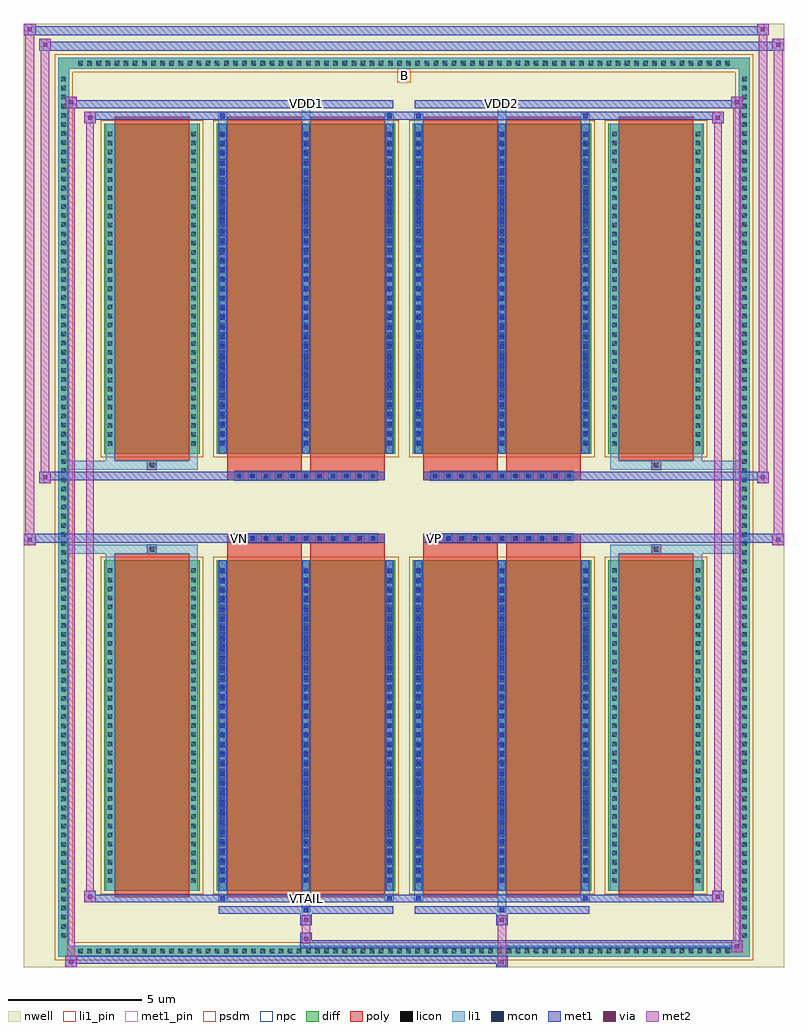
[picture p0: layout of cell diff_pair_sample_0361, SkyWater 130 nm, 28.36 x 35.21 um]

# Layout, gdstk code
import gdstk
lib = gdstk.Library(unit=1e-6, precision=5e-09)
def R(c, l, rs):  # rectangles x0, y0, x1, y1
    for r in rs: c.add(gdstk.rectangle(r[:2], r[2:], *l))
def A(c, l, x, y, w, h, nx, ny, dx, dy):  # array of equal rectangles
    R(c, l, [(x+i*dx, y+j*dy, x+i*dx+w, y+j*dy+h) for i in range(nx) for j in range(ny)])
def P(c, l, *ps):  # polygons
    for p in ps: c.add(gdstk.Polygon(p, *l))
nwell = (64, 20)
diff = (65, 20)
poly = (66, 20)
licon = (66, 44)
li1_pin = (67, 16)
li1 = (67, 20)
mcon = (67, 44)
met1_pin = (68, 16)
met1 = (68, 20)
via = (68, 44)
met2 = (69, 20)
psdm = (94, 20)
npc = (95, 20)

diff_pair_sample_0361 = lib.new_cell('diff_pair_sample_0361')
R(diff_pair_sample_0361, nwell, [(-14.18,-17.17,14.18,18.04), (-11.5,-15.36,-0.01,-0.8), (0.01,-15.36,11.5,-0.8), (-11.5,0.8,-0.01,15.36), (0.01,0.8,11.5,15.36)])
A(diff_pair_sample_0361, diff, -12.275, -16.77, 0.41, 0.41, 72, 2, 0.34, 33.13)
A(diff_pair_sample_0361, diff, -12.91, -16.185, 0.41, 0.41, 1, 95, 0, 0.34)
A(diff_pair_sample_0361, diff, 12.5, -16.185, 0.41, 0.41, 1, 95, 0, 0.34)
R(diff_pair_sample_0361, diff, [(-12.275,-16.77,12.275,-16.36), (-12.91,-16.185,-12.5,16.185), (12.5,-16.185,12.91,16.185), (-11.19,-14.315,-7.63,-1.985), (-6.99,-14.315,-0.32,-1.985), (0.32,-14.315,6.99,-1.985), (7.63,-14.315,11.19,-1.985), (-11.19,1.985,-7.63,14.315), (-6.99,1.985,-0.32,14.315), (0.32,1.985,6.99,14.315), (7.63,1.985,11.19,14.315), (-12.275,16.36,12.275,16.77)])
P(diff_pair_sample_0361, diff, [(12.91,16.77),(-12.91,16.77),(-12.91,-16.36),(-12.5,-16.36),(-12.5,16.36),(12.5,16.36),(12.5,-16.36),(-12.5,-16.36),(-12.91,-16.36),(-12.91,-16.77),(12.91,-16.77)])
A(diff_pair_sample_0361, poly, -6.32, -1.33, 0.33, 0.33, 11, 2, 0.5, 2.33)
A(diff_pair_sample_0361, poly, 0.99, -1.33, 0.33, 0.33, 11, 2, 0.5, 2.33)
R(diff_pair_sample_0361, poly, [(-10.8,-14.565,-8.02,-1.735), (-6.6,-14.565,-3.82,-1.735), (-3.49,-14.565,-0.71,-1.735), (0.71,-14.565,3.49,-1.735), (3.82,-14.565,6.6,-1.735), (8.02,-14.565,10.8,-1.735), (-9.575,-1.735,-9.245,-1.405), (-9.575,-1.735,-9.245,-1.405), (-6.6,-1.735,-3.82,-1.33), (-3.49,-1.735,-0.71,-1.33), (0.71,-1.735,3.49,-1.33), (3.82,-1.735,6.6,-1.33), (9.245,-1.735,9.575,-1.405), (9.245,-1.735,9.575,-1.405), (-6.6,-1.33,-0.71,-1), (0.71,-1.33,6.6,-1), (-6.6,1,-0.71,1.33), (0.71,1,6.6,1.33), (-6.6,1.33,-3.82,1.735), (-3.49,1.33,-0.71,1.735), (0.71,1.33,3.49,1.735), (3.82,1.33,6.6,1.735), (-9.575,1.405,-9.245,1.735), (-9.575,1.405,-9.245,1.735), (9.245,1.405,9.575,1.735), (9.245,1.405,9.575,1.735), (-10.8,1.735,-8.02,14.565), (-6.6,1.735,-3.82,14.565), (-3.49,1.735,-0.71,14.565), (0.71,1.735,3.49,14.565), (3.82,1.735,6.6,14.565), (8.02,1.735,10.8,14.565)])
A(diff_pair_sample_0361, licon, -12.155, -16.65, 0.17, 0.17, 72, 2, 0.34, 33.13)
A(diff_pair_sample_0361, licon, -12.79, -16.065, 0.17, 0.17, 1, 95, 0, 0.34)
A(diff_pair_sample_0361, licon, 12.62, -16.065, 0.17, 0.17, 1, 95, 0, 0.34)
A(diff_pair_sample_0361, licon, -11.05, -14.015, 0.17, 0.17, 1, 35, 0, 0.34)
A(diff_pair_sample_0361, licon, -7.94, -14.015, 0.17, 0.17, 1, 35, 0, 0.34)
A(diff_pair_sample_0361, licon, -6.85, -14.015, 0.17, 0.17, 3, 35, 3.11, 0.34)
A(diff_pair_sample_0361, licon, 0.46, -14.015, 0.17, 0.17, 3, 35, 3.11, 0.34)
A(diff_pair_sample_0361, licon, 7.77, -14.015, 0.17, 0.17, 1, 35, 0, 0.34)
A(diff_pair_sample_0361, licon, 10.88, -14.015, 0.17, 0.17, 1, 35, 0, 0.34)
A(diff_pair_sample_0361, licon, -6.24, -1.25, 0.17, 0.17, 11, 2, 0.5, 2.33)
A(diff_pair_sample_0361, licon, 1.07, -1.25, 0.17, 0.17, 11, 2, 0.5, 2.33)
A(diff_pair_sample_0361, licon, -11.05, 2.285, 0.17, 0.17, 1, 35, 0, 0.34)
A(diff_pair_sample_0361, licon, -7.94, 2.285, 0.17, 0.17, 1, 35, 0, 0.34)
A(diff_pair_sample_0361, licon, -6.85, 2.285, 0.17, 0.17, 3, 35, 3.11, 0.34)
A(diff_pair_sample_0361, licon, 0.46, 2.285, 0.17, 0.17, 3, 35, 3.11, 0.34)
A(diff_pair_sample_0361, licon, 7.77, 2.285, 0.17, 0.17, 1, 35, 0, 0.34)
A(diff_pair_sample_0361, licon, 10.88, 2.285, 0.17, 0.17, 1, 35, 0, 0.34)
R(diff_pair_sample_0361, licon, [(-9.495,-1.655,-9.325,-1.485), (9.325,-1.655,9.495,-1.485), (-9.495,1.485,-9.325,1.655), (9.325,1.485,9.495,1.655)])
R(diff_pair_sample_0361, li1_pin, [(-0.25,15.86,0.25,16.36)])
A(diff_pair_sample_0361, li1, -12.235, -16.73, 0.33, 0.33, 72, 2, 0.34, 33.13)
A(diff_pair_sample_0361, li1, -12.87, -16.145, 0.33, 0.33, 1, 95, 0, 0.34)
A(diff_pair_sample_0361, li1, 12.54, -16.145, 0.33, 0.33, 1, 95, 0, 0.34)
A(diff_pair_sample_0361, li1, -6.93, -14.315, 0.33, 12.33, 3, 2, 3.11, 16.3)
A(diff_pair_sample_0361, li1, 0.38, -14.315, 0.33, 12.33, 3, 2, 3.11, 16.3)
A(diff_pair_sample_0361, li1, -11.13, -14.095, 0.33, 0.33, 1, 35, 0, 0.34)
A(diff_pair_sample_0361, li1, -8.02, -14.095, 0.33, 0.33, 1, 35, 0, 0.34)
A(diff_pair_sample_0361, li1, -6.93, -14.095, 0.33, 0.33, 3, 35, 3.11, 0.34)
A(diff_pair_sample_0361, li1, 0.38, -14.095, 0.33, 0.33, 3, 35, 3.11, 0.34)
A(diff_pair_sample_0361, li1, 7.69, -14.095, 0.33, 0.33, 1, 35, 0, 0.34)
A(diff_pair_sample_0361, li1, 10.8, -14.095, 0.33, 0.33, 1, 35, 0, 0.34)
A(diff_pair_sample_0361, li1, -6.85, -13.995, 0.17, 0.17, 3, 33, 3.11, 0.36)
A(diff_pair_sample_0361, li1, -6.85, -13.995, 0.17, 11.69, 3, 2, 3.11, 16.3)
A(diff_pair_sample_0361, li1, 0.46, -13.995, 0.17, 0.17, 3, 33, 3.11, 0.36)
A(diff_pair_sample_0361, li1, 0.46, -13.995, 0.17, 11.69, 3, 2, 3.11, 16.3)
A(diff_pair_sample_0361, li1, -6.32, -1.33, 0.33, 0.33, 11, 2, 0.5, 2.33)
A(diff_pair_sample_0361, li1, 0.99, -1.33, 0.33, 0.33, 11, 2, 0.5, 2.33)
A(diff_pair_sample_0361, li1, -11.13, 2.205, 0.33, 0.33, 1, 35, 0, 0.34)
A(diff_pair_sample_0361, li1, -8.02, 2.205, 0.33, 0.33, 1, 35, 0, 0.34)
A(diff_pair_sample_0361, li1, -6.93, 2.205, 0.33, 0.33, 3, 35, 3.11, 0.34)
A(diff_pair_sample_0361, li1, 0.38, 2.205, 0.33, 0.33, 3, 35, 3.11, 0.34)
A(diff_pair_sample_0361, li1, 7.69, 2.205, 0.33, 0.33, 1, 35, 0, 0.34)
A(diff_pair_sample_0361, li1, 10.8, 2.205, 0.33, 0.33, 1, 35, 0, 0.34)
A(diff_pair_sample_0361, li1, -6.85, 2.305, 0.17, 0.17, 3, 33, 3.11, 0.36)
A(diff_pair_sample_0361, li1, 0.46, 2.305, 0.17, 0.17, 3, 33, 3.11, 0.36)
R(diff_pair_sample_0361, li1, [(-12.91,-16.77,-12.5,-16.36), (-12.91,-16.77,-12.5,-16.36), (-12.5,-16.77,12.5,-16.36), (12.5,-16.77,12.91,-16.36), (12.5,-16.77,12.91,-16.36), (-12.91,-16.36,-12.5,16.36), (12.5,-16.36,12.91,16.36), (-3.82,-15.12,-3.49,-14.315), (-3.74,-15.12,-3.57,-14.95), (3.49,-15.12,3.82,-14.315), (3.57,-15.12,3.74,-14.95), (-6.93,-14.69,-6.6,-14.315), (-6.85,-14.69,-6.68,-14.52), (-0.71,-14.69,-0.38,-14.315), (-0.63,-14.69,-0.46,-14.52), (0.38,-14.69,0.71,-14.315), (0.46,-14.69,0.63,-14.52), (6.6,-14.69,6.93,-14.315), (6.68,-14.69,6.85,-14.52), (-11.13,-14.315,-10.8,-1.985), (-8.02,-14.315,-7.69,-1.985), (7.69,-14.315,8.02,-1.985), (10.8,-14.315,11.13,-1.985), (-11.13,-1.985,-10.8,-1.405), (-8.02,-1.985,-7.69,-1.405), (7.69,-1.985,8.02,-1.405), (10.8,-1.985,11.13,-1.405), (-12.91,-1.735,-9.575,-1.405), (-11.13,-1.735,-9.575,-1.405), (-9.575,-1.735,-9.245,-1.405), (-9.245,-1.735,-7.69,-1.405), (7.69,-1.735,9.245,-1.405), (9.245,-1.735,9.575,-1.405), (9.245,-1.735,12.91,-1.405), (9.575,-1.735,11.13,-1.405), (-12.91,1.405,-9.575,1.735), (-11.13,1.405,-9.575,1.735), (-11.13,1.405,-10.8,1.985), (-9.575,1.405,-9.245,1.735), (-9.245,1.405,-7.69,1.735), (-8.02,1.405,-7.69,1.985), (7.69,1.405,9.245,1.735), (7.69,1.405,8.02,1.985), (9.245,1.405,9.575,1.735), (9.245,1.405,12.91,1.735), (9.575,1.405,11.13,1.735), (10.8,1.405,11.13,1.985), (-11.13,1.985,-10.8,14.315), (-8.02,1.985,-7.69,14.315), (7.69,1.985,8.02,14.315), (10.8,1.985,11.13,14.315), (-6.93,14.315,-6.6,14.69), (-3.82,14.315,-3.49,15.12), (-0.71,14.315,-0.38,14.69), (0.38,14.315,0.71,14.69), (3.49,14.315,3.82,15.12), (6.6,14.315,6.93,14.69), (-6.85,14.52,-6.68,14.69), (-0.63,14.52,-0.46,14.69), (0.46,14.52,0.63,14.69), (6.68,14.52,6.85,14.69), (-3.74,14.95,-3.57,15.12), (3.57,14.95,3.74,15.12), (-12.91,16.36,-12.5,16.77), (-12.91,16.36,-12.5,16.77), (-12.5,16.36,12.5,16.77), (12.5,16.36,12.91,16.77), (12.5,16.36,12.91,16.77)])
A(diff_pair_sample_0361, mcon, -6.85, -13.995, 0.17, 0.17, 3, 33, 3.11, 0.36)
A(diff_pair_sample_0361, mcon, 0.46, -13.995, 0.17, 0.17, 3, 33, 3.11, 0.36)
A(diff_pair_sample_0361, mcon, -6.24, -1.25, 0.17, 0.17, 11, 2, 0.5, 2.33)
A(diff_pair_sample_0361, mcon, 1.07, -1.25, 0.17, 0.17, 11, 2, 0.5, 2.33)
A(diff_pair_sample_0361, mcon, -6.85, 2.305, 0.17, 0.17, 3, 33, 3.11, 0.36)
A(diff_pair_sample_0361, mcon, 0.46, 2.305, 0.17, 0.17, 3, 33, 3.11, 0.36)
R(diff_pair_sample_0361, mcon, [(-3.74,-15.12,-3.57,-14.95), (3.57,-15.12,3.74,-14.95), (-6.85,-14.69,-6.68,-14.52), (-0.63,-14.69,-0.46,-14.52), (0.46,-14.69,0.63,-14.52), (6.68,-14.69,6.85,-14.52), (-6.85,14.52,-6.68,14.69), (-0.63,14.52,-0.46,14.69), (0.46,14.52,0.63,14.69), (6.68,14.52,6.85,14.69), (-3.74,14.95,-3.57,15.12), (3.57,14.95,3.74,15.12)])
R(diff_pair_sample_0361, met1_pin, [(-3.79,-14.73,-3.52,-14.46), (-6.29,-1.29,-6.02,-1.02), (1.02,-1.29,1.29,-1.02), (-3.79,14.91,-3.52,15.18), (3.52,14.91,3.79,15.18)])
A(diff_pair_sample_0361, met1, -6.91, -14.315, 0.29, 12.33, 3, 2, 3.11, 16.3)
A(diff_pair_sample_0361, met1, 0.4, -14.315, 0.29, 12.33, 3, 2, 3.11, 16.3)
A(diff_pair_sample_0361, met1, -6.91, -14.055, 0.29, 0.29, 3, 33, 3.11, 0.36)
A(diff_pair_sample_0361, met1, 0.4, -14.055, 0.29, 0.29, 3, 33, 3.11, 0.36)
A(diff_pair_sample_0361, met1, -6.3, -1.31, 0.29, 0.29, 11, 2, 0.5, 2.33)
A(diff_pair_sample_0361, met1, 1.01, -1.31, 0.29, 0.29, 11, 2, 0.5, 2.33)
A(diff_pair_sample_0361, met1, -6.91, 2.245, 0.29, 0.29, 3, 33, 3.11, 0.36)
A(diff_pair_sample_0361, met1, 0.4, 2.245, 0.29, 0.29, 3, 33, 3.11, 0.36)
R(diff_pair_sample_0361, met1, [(-12.64,-17.17,-12.21,-16.74), (3.44,-17.17,3.87,-16.74), (-12.64,-17.03,3.87,-16.74), (12.21,-16.6,12.64,-16.17), (-3.87,-16.46,12.64,-16.17), (-3.87,-16.32,-3.44,-15.89), (-3.87,-15.61,-3.44,-15.18), (3.44,-15.61,3.87,-15.18), (-6.91,-15.18,-0.4,-14.89), (-3.8,-15.18,-3.51,-14.89), (0.4,-15.18,6.91,-14.89), (3.51,-15.18,3.8,-14.89), (-11.93,-14.75,-11.5,-14.32), (-11.93,-14.75,-6.91,-14.46), (-6.91,-14.75,-6.62,-14.46), (-6.91,-14.75,-0.4,-14.46), (-0.69,-14.75,-0.4,-14.46), (-0.4,-14.75,0.4,-14.46), (0.4,-14.75,0.69,-14.46), (0.4,-14.75,6.91,-14.46), (6.62,-14.75,6.91,-14.46), (6.91,-14.75,11.93,-14.46), (11.5,-14.75,11.93,-14.32), (-14.18,-1.43,-13.75,-1), (13.75,-1.43,14.18,-1), (-14.18,-1.33,-0.71,-1), (-6.6,-1.33,-0.71,-1), (0.71,-1.33,6.6,-1), (0.71,-1.33,14.18,-1), (-13.61,0.9,-13.18,1.33), (13.18,0.9,13.61,1.33), (-13.61,1,-6.6,1.33), (-6.6,1,-0.71,1.33), (0.71,1,6.6,1.33), (6.6,1,13.61,1.33), (-11.93,14.32,-11.5,14.75), (11.5,14.32,11.93,14.75), (-11.93,14.46,-6.91,14.75), (-6.91,14.46,-6.62,14.75), (-6.91,14.46,-0.4,14.75), (-0.69,14.46,-0.4,14.75), (-0.4,14.46,0.4,14.75), (0.4,14.46,0.69,14.75), (0.4,14.46,6.91,14.75), (6.62,14.46,6.91,14.75), (6.91,14.46,11.93,14.75), (-12.64,14.89,-12.21,15.32), (-12.64,14.89,-6.91,15.18), (-6.91,14.89,-0.4,15.18), (-3.8,14.89,-3.51,15.18), (0.4,14.89,6.91,15.18), (3.51,14.89,3.8,15.18), (6.91,14.89,12.64,15.18), (12.21,14.89,12.64,15.32), (-13.61,17.04,-13.18,17.47), (-13.61,17.04,-11.5,17.37), (-11.5,17.04,11.5,17.37), (11.5,17.04,14.18,17.37), (13.75,17.04,14.18,17.47), (-14.18,17.61,-13.75,18.04), (-14.18,17.61,-11.5,17.94), (-11.5,17.61,11.5,17.94), (11.5,17.61,13.61,17.94), (13.18,17.61,13.61,18.04)])
R(diff_pair_sample_0361, via, [(-12.5,-17.03,-12.35,-16.88), (3.58,-17.03,3.73,-16.88), (12.35,-16.46,12.5,-16.31), (-3.73,-16.18,-3.58,-16.03), (-3.73,-15.47,-3.58,-15.32), (3.58,-15.47,3.73,-15.32), (-11.79,-14.61,-11.64,-14.46), (11.64,-14.61,11.79,-14.46), (-14.04,-1.29,-13.89,-1.14), (13.89,-1.29,14.04,-1.14), (-13.47,1.04,-13.32,1.19), (13.32,1.04,13.47,1.19), (-11.79,14.46,-11.64,14.61), (11.64,14.46,11.79,14.61), (-12.5,15.03,-12.35,15.18), (12.35,15.03,12.5,15.18), (-13.47,17.18,-13.32,17.33), (13.89,17.18,14.04,17.33), (-14.04,17.75,-13.89,17.9), (13.32,17.75,13.47,17.9)])
R(diff_pair_sample_0361, met2, [(-12.64,-17.17,-12.21,-16.74), (-12.57,-17.17,-12.28,15.32), (-12.28,-17.17,-12.21,-16.74), (-12.59,-17.12,-12.26,-16.79), (3.49,-17.12,3.82,-16.79), (3.49,-16.79,3.82,-15.56), (12.21,-16.6,12.64,-16.17), (12.28,-16.6,12.57,15.32), (12.57,-16.6,12.64,-16.17), (12.26,-16.55,12.59,-16.22), (-3.82,-16.27,-3.49,-15.94), (-3.82,-15.94,-3.49,-15.56), (-3.82,-15.56,-3.49,-15.23), (3.49,-15.56,3.82,-15.23), (-11.93,-14.75,-11.5,-14.32), (-11.86,-14.75,-11.57,14.75), (-11.57,-14.75,-11.5,-14.32), (11.5,-14.75,11.93,-14.32), (11.57,-14.75,11.86,14.75), (11.86,-14.75,11.93,-14.32), (-11.88,-14.7,-11.55,-14.37), (11.55,-14.7,11.88,-14.37), (-14.18,-1.43,-13.75,-1), (-14.13,-1.43,-13.8,18.04), (-13.8,-1.43,-13.75,-1), (13.75,-1.43,14.18,-1), (13.8,-1.43,14.13,17.47), (14.13,-1.43,14.18,-1), (-14.13,-1.38,-13.8,-1.05), (13.8,-1.38,14.13,-1.05), (-13.61,0.9,-13.18,1.33), (-13.56,0.9,-13.23,17.47), (-13.23,0.9,-13.18,1.33), (13.18,0.9,13.61,1.33), (13.23,0.9,13.56,18.04), (13.56,0.9,13.61,1.33), (-13.56,0.95,-13.23,1.28), (13.23,0.95,13.56,1.28), (-11.93,14.32,-11.5,14.75), (-11.57,14.32,-11.5,14.75), (11.5,14.32,11.93,14.75), (11.86,14.32,11.93,14.75), (-11.88,14.37,-11.55,14.7), (11.55,14.37,11.88,14.7), (-12.64,14.89,-12.21,15.32), (-12.28,14.89,-12.21,15.32), (12.21,14.89,12.64,15.32), (12.57,14.89,12.64,15.32), (-12.59,14.94,-12.26,15.27), (12.26,14.94,12.59,15.27), (-13.61,17.04,-13.18,17.47), (-13.23,17.04,-13.18,17.47), (13.75,17.04,14.18,17.47), (14.13,17.04,14.18,17.47), (-13.56,17.09,-13.23,17.42), (13.8,17.09,14.13,17.42), (-14.18,17.61,-13.75,18.04), (-13.8,17.61,-13.75,18.04), (13.18,17.61,13.61,18.04), (13.56,17.61,13.61,18.04), (-14.13,17.66,-13.8,17.99), (13.23,17.66,13.56,17.99)])
R(diff_pair_sample_0361, psdm, [(-11.32,-14.445,-7.5,-1.855), (-7.12,-14.445,-0.19,-1.855), (0.19,-14.445,7.12,-1.855), (7.5,-14.445,11.32,-1.855), (-11.32,1.855,-7.5,14.445), (-7.12,1.855,-0.19,14.445), (0.19,1.855,7.12,14.445), (7.5,1.855,11.32,14.445)])
P(diff_pair_sample_0361, psdm, [(13.04,16.9),(-13.04,16.9),(-13.04,-16.23),(-12.37,-16.23),(-12.37,16.23),(12.37,16.23),(12.37,-16.23),(-12.37,-16.23),(-13.04,-16.23),(-13.04,-16.9),(13.04,-16.9)])
A(diff_pair_sample_0361, npc, -6.34, -1.35, 0.37, 0.37, 11, 2, 0.5, 2.33)
A(diff_pair_sample_0361, npc, 0.97, -1.35, 0.37, 0.37, 11, 2, 0.5, 2.33)
R(diff_pair_sample_0361, npc, [(-9.595,-1.755,-9.225,-1.385), (9.225,-1.755,9.595,-1.385), (-6.34,-1.35,-5.47,-0.98), (-6.34,-1.35,-5.47,-0.98), (-5.84,-1.35,-4.97,-0.98), (-5.84,-1.35,-4.97,-0.98), (-5.34,-1.35,-4.47,-0.98), (-5.34,-1.35,-4.47,-0.98), (-4.84,-1.35,-3.97,-0.98), (-4.84,-1.35,-3.97,-0.98), (-4.34,-1.35,-3.47,-0.98), (-4.34,-1.35,-3.47,-0.98), (-3.84,-1.35,-2.97,-0.98), (-3.84,-1.35,-2.97,-0.98), (-3.34,-1.35,-2.47,-0.98), (-3.34,-1.35,-2.47,-0.98), (-2.84,-1.35,-1.97,-0.98), (-2.84,-1.35,-1.97,-0.98), (-2.34,-1.35,-1.47,-0.98), (-2.34,-1.35,-1.47,-0.98), (-1.84,-1.35,-0.97,-0.98), (-1.84,-1.35,-0.97,-0.98), (0.97,-1.35,1.84,-0.98), (0.97,-1.35,1.84,-0.98), (1.47,-1.35,2.34,-0.98), (1.47,-1.35,2.34,-0.98), (1.97,-1.35,2.84,-0.98), (1.97,-1.35,2.84,-0.98), (2.47,-1.35,3.34,-0.98), (2.47,-1.35,3.34,-0.98), (2.97,-1.35,3.84,-0.98), (2.97,-1.35,3.84,-0.98), (3.47,-1.35,4.34,-0.98), (3.47,-1.35,4.34,-0.98), (3.97,-1.35,4.84,-0.98), (3.97,-1.35,4.84,-0.98), (4.47,-1.35,5.34,-0.98), (4.47,-1.35,5.34,-0.98), (4.97,-1.35,5.84,-0.98), (4.97,-1.35,5.84,-0.98), (5.47,-1.35,6.34,-0.98), (5.47,-1.35,6.34,-0.98), (-6.34,0.98,-5.47,1.35), (-6.34,0.98,-5.47,1.35), (-5.84,0.98,-4.97,1.35), (-5.84,0.98,-4.97,1.35), (-5.34,0.98,-4.47,1.35), (-5.34,0.98,-4.47,1.35), (-4.84,0.98,-3.97,1.35), (-4.84,0.98,-3.97,1.35), (-4.34,0.98,-3.47,1.35), (-4.34,0.98,-3.47,1.35), (-3.84,0.98,-2.97,1.35), (-3.84,0.98,-2.97,1.35), (-3.34,0.98,-2.47,1.35), (-3.34,0.98,-2.47,1.35), (-2.84,0.98,-1.97,1.35), (-2.84,0.98,-1.97,1.35), (-2.34,0.98,-1.47,1.35), (-2.34,0.98,-1.47,1.35), (-1.84,0.98,-0.97,1.35), (-1.84,0.98,-0.97,1.35), (0.97,0.98,1.84,1.35), (0.97,0.98,1.84,1.35), (1.47,0.98,2.34,1.35), (1.47,0.98,2.34,1.35), (1.97,0.98,2.84,1.35), (1.97,0.98,2.84,1.35), (2.47,0.98,3.34,1.35), (2.47,0.98,3.34,1.35), (2.97,0.98,3.84,1.35), (2.97,0.98,3.84,1.35), (3.47,0.98,4.34,1.35), (3.47,0.98,4.34,1.35), (3.97,0.98,4.84,1.35), (3.97,0.98,4.84,1.35), (4.47,0.98,5.34,1.35), (4.47,0.98,5.34,1.35), (4.97,0.98,5.84,1.35), (4.97,0.98,5.84,1.35), (5.47,0.98,6.34,1.35), (5.47,0.98,6.34,1.35), (-9.595,1.385,-9.225,1.755), (9.225,1.385,9.595,1.755)])
diff_pair_sample_0361.add(gdstk.Label('VTAIL', (-3.655,-14.595), layer=68, texttype=5))
diff_pair_sample_0361.add(gdstk.Label('VN', (-6.155,-1.155), layer=68, texttype=5))
diff_pair_sample_0361.add(gdstk.Label('VP', (1.155,-1.155), layer=68, texttype=5))
diff_pair_sample_0361.add(gdstk.Label('B', (0,16.11), layer=67, texttype=5))
diff_pair_sample_0361.add(gdstk.Label('VDD2', (3.655,15.045), layer=68, texttype=5))
diff_pair_sample_0361.add(gdstk.Label('VDD1', (-3.655,15.045), layer=68, texttype=5))

lib.write_gds('diff_pair_sample_0361.gds')
